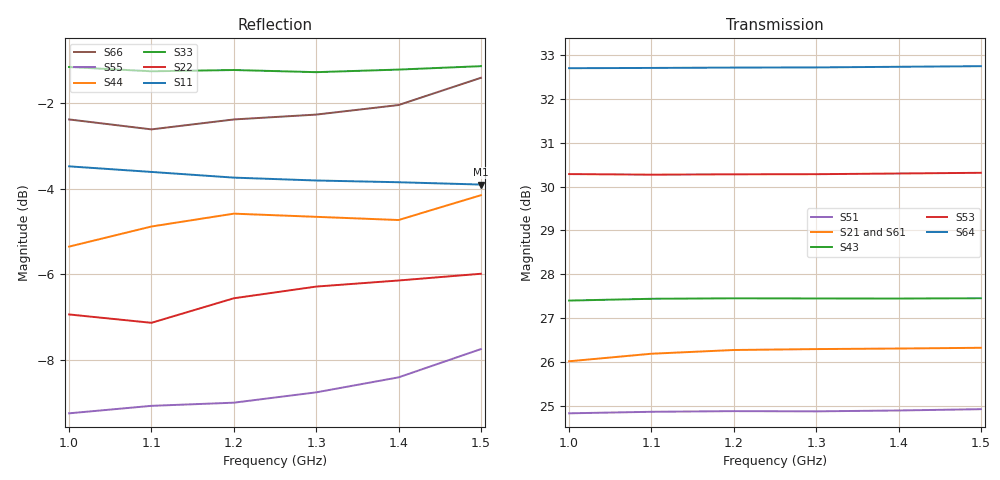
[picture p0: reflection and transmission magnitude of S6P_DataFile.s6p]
! Example of a correctly formatted S6P six port Touchstone S-parameter data file
! # GHZ S MA R 50
! freq1 magS11  angS11  magS12  angS12  magS13  angS13  magS14  angS14
!  magS15  angS15  magS16  angS16  magS21  angS21  magS22  angS22
!  magS23  angS23  magS24  angS24  magS25  angS25  magS26  angS26
!  magS31  angS31  magS32  angS32  magS33  angS33  magS34  angS34
!  magS35  angS35  magS36  angS36  magS41  angS41  magS42  angS42
!  magS43  angS43  magS44  angS44  magS45  angS45  magS46  angS46
!  magS51  angS51  magS52  angS52  magS53  angS53  magS54  angS54
!  magS55  angS55  magS56  angS56  magS61  angS61  magS62  angS62
!  magS63  angS63  magS64  angS64  magS65  angS65  magS66  angS66
! freq2 magS11  angS11  magS12  angS12  magS13  angS13  magS14  angS14
!  magS15  angS15  magS16  angS16  magS21  angS21  magS22  angS22
!  magS23  angS23  magS24  angS24  magS25  angS25  magS26  angS26
!  magS31  angS31  magS32  angS32  magS33  angS33  magS34  angS34
!  magS35  angS35  magS36  angS36  magS41  angS41  magS42  angS42
!  magS43  angS43  magS44  angS44  magS45  angS45  magS46  angS46
!  magS51  angS51  magS52  angS52  magS53  angS53  magS54  angS54
!  magS55  angS55  magS56  angS56  magS61  angS61  magS62  angS62
!  magS63  angS63  magS64  angS64  magS65  angS65  magS66  angS66
# GHZ S MA R 50
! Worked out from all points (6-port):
!   6 points, 1 GHz to 1.5 GHz, reference 50 ohm
!   strongest paths, dB at 1 GHz, 1.1 GHz, 1.3 GHz, 1.4 GHz, 1.5 GHz:
!     S64: 32.7, 32.7, 32.7, 32.7, 32.7
!     S53: 30.3, 30.3, 30.3, 30.3, 30.3
!     S43: 27.4, 27.4, 27.5, 27.4, 27.5
!     S21: 26.0, 26.2, 26.3, 26.3, 26.3
!     S61: 25.9, 25.9, 25.9, 26.0, 26.0
!     S51: 24.8, 24.9, 24.9, 24.9, 24.9
!   lowest |S11| = -3.9 dB at 1.5 GHz (marker M1), VSWR 4.52, Z = 98.2 + j106 ohm
!   |S11| at or under -10 dB: nowhere
